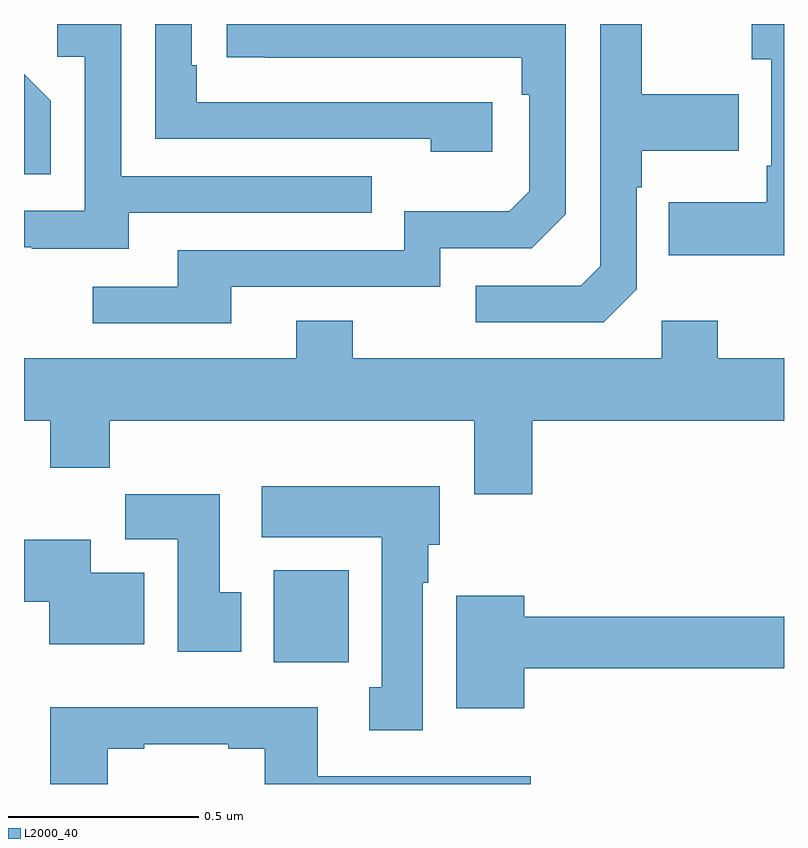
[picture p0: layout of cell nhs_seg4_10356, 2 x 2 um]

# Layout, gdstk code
import gdstk
lib = gdstk.Library(unit=1e-6, precision=1e-09)
def R(c, l, rs):  # rectangles x0, y0, x1, y1
    for r in rs: c.add(gdstk.rectangle(r[:2], r[2:], *l))
def P(c, l, *ps):  # polygons
    for p in ps: c.add(gdstk.Polygon(p, *l))
L2000_40 = (2000, 40)

nhs_seg4_10356 = lib.new_cell('nhs_seg4_10356')
R(nhs_seg4_10356, L2000_40, [(239.657,760.22,239.854,760.462)])
P(nhs_seg4_10356, L2000_40, [(241,761.9),(240.915,761.9),(240.915,761.807),(240.966,761.807),(240.966,761.527),(240.954,761.527),(240.954,761.431),(240.697,761.431),(240.697,761.291),(241,761.291)],
  [(240.612,761.202),(240.612,761.471),(240.625,761.471),(240.625,761.567),(240.881,761.567),(240.881,761.715),(240.625,761.715),(240.625,761.9),(240.516,761.9),(240.516,761.262),(240.465,761.211),(240.189,761.211),(240.189,761.115),(240.525,761.115)],
  [(240.232,761.694),(239.455,761.694),(239.455,761.791),(239.442,761.791),(239.442,761.9),(239.346,761.9),(239.346,761.598),(240.071,761.598),(240.071,761.564),(240.232,761.564)],
  [(239.545,761.208),(240.096,761.208),(240.096,761.31),(240.336,761.31),(240.426,761.4),(240.426,761.9),(239.533,761.9),(239.533,761.812),(239.635,761.812),(239.635,761.811),(240.31,761.811),(240.31,761.714),(240.33,761.714),(240.33,761.46),(240.277,761.407),(240,761.407),(240,761.304),(239.405,761.304),(239.405,761.208),(239.181,761.208),(239.181,761.112),(239.545,761.112)],
  [(239.275,761.403),(239.915,761.403),(239.915,761.499),(239.256,761.499),(239.256,761.9),(239.088,761.9),(239.088,761.814),(239.16,761.814),(239.16,761.409),(239,761.409),(239,761.313),(239.021,761.313),(239.021,761.309),(239.275,761.309)],
  [(239.07,761.698),(239,761.768),(239,761.505),(239.07,761.505)],
  [(240.338,760.856),(241,760.856),(241,761.02),(240.825,761.02),(240.825,761.119),(240.678,761.119),(240.678,761.02),(239.865,761.02),(239.865,761.119),(239.717,761.119),(239.717,761.02),(239,761.02),(239,760.856),(239.069,760.856),(239.069,760.732),(239.225,760.732),(239.225,760.856),(240.185,760.856),(240.185,760.662),(240.338,760.662)],
  [(240.049,760.43),(240.064,760.43),(240.064,760.53),(240.094,760.53),(240.094,760.684),(239.625,760.684),(239.625,760.55),(239.942,760.55),(239.942,760.154),(239.909,760.154),(239.909,760.041),(240.049,760.041)],
  [(239.572,760.404),(239.515,760.404),(239.515,760.663),(239.266,760.663),(239.266,760.544),(239.405,760.544),(239.405,760.248),(239.572,760.248)],
  [(239.317,760.456),(239.176,760.456),(239.176,760.543),(239,760.543),(239,760.379),(239.066,760.379),(239.066,760.268),(239.317,760.268)],
  [(240.316,760.204),(241,760.204),(241,760.34),(240.316,760.34),(240.316,760.396),(240.137,760.396),(240.137,760.1),(240.316,760.1)],
  [(239.221,759.993),(239.317,759.993),(239.317,760.005),(239.537,760.005),(239.537,759.993),(239.633,759.993),(239.633,759.9),(240.334,759.9),(240.334,759.921),(239.773,759.921),(239.773,760.102),(239.069,760.102),(239.069,759.9),(239.221,759.9)])

lib.write_gds('nhs_seg4_10356.gds')
